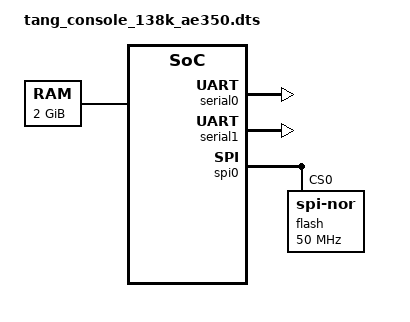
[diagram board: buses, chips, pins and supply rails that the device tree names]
// SPDX-License-Identifier: (GPL-2.0 OR MIT)

/dts-v1/;


/ {
	#address-cells = <1>;
	#size-cells = <1>;
	compatible = "andestech,a25";

	cpus {
		#address-cells = <1>;
		#size-cells = <0>;
		cpu0: cpu@0 {
			device_type = "cpu";
			reg = <0>;
			status = "okay";
			compatible = "riscv";
			riscv,isa = "rv32imafdc";
			riscv,isa-extensions = "i", "m", "a", "f", "d", "c", "zicsr", "zicntr";
			mmu-type = "riscv,sv32";
			clock-frequency = <800000000>;
			i-cache-size = <0x8000>;
			i-cache-line-size = <32>;
			i-cache-sets = <256>;
			d-cache-size = <0x8000>;
			d-cache-line-size = <32>;
			d-cache-sets = <256>;
			cpu0_intc: interrupt-controller {
				#interrupt-cells = <1>;
				interrupt-controller;
				compatible = "riscv,cpu-intc";
			};
		};
		cpu1: cpu@1 {
			device_type = "cpu";
			reg = <1>;
			status = "okay";
			compatible = "riscv";
			riscv,isa = "rv32imafdc";
			riscv,isa-extensions = "i", "m", "a", "f", "d", "c", "zicsr", "zicntr";
			mmu-type = "riscv,sv32";
			clock-frequency = <800000000>;
			i-cache-size = <0x8000>;
			i-cache-line-size = <32>;
			i-cache-sets = <256>;
			d-cache-size = <0x8000>;
			d-cache-line-size = <32>;
			d-cache-sets = <256>;
			cpu1_intc: interrupt-controller {
				#interrupt-cells = <1>;
				interrupt-controller;
				compatible = "riscv,cpu-intc";
			};
		};
		cpu2: cpu@2 {
			device_type = "cpu";
			reg = <2>;
			status = "okay";
			compatible = "riscv";
			riscv,isa = "rv32imafdc";
			riscv,isa-extensions = "i", "m", "a", "f", "d", "c", "zicsr", "zicntr";
			mmu-type = "riscv,sv32";
			clock-frequency = <800000000>;
			i-cache-size = <0x8000>;
			i-cache-line-size = <32>;
			i-cache-sets = <256>;
			d-cache-size = <0x8000>;
			d-cache-line-size = <32>;
			d-cache-sets = <256>;
			cpu2_intc: interrupt-controller {
				#interrupt-cells = <1>;
				interrupt-controller;
				compatible = "riscv,cpu-intc";
			};
		};
		cpu3: cpu@3 {
			device_type = "cpu";
			reg = <3>;
			status = "okay";
			compatible = "riscv";
			riscv,isa = "rv32imafdc";
			riscv,isa-extensions = "i", "m", "a", "f", "d", "c", "zicsr", "zicntr";
			mmu-type = "riscv,sv32";
			clock-frequency = <800000000>;
			i-cache-size = <0x8000>;
			i-cache-line-size = <32>;
			i-cache-sets = <256>;
			d-cache-size = <0x8000>;
			d-cache-line-size = <32>;
			d-cache-sets = <256>;
			cpu3_intc: interrupt-controller {
				#interrupt-cells = <1>;
				interrupt-controller;
				compatible = "riscv,cpu-intc";
			};
		};
	};

	dram: memory@0 {
		device_type = "memory";
		reg = <0x00000000 0x80000000>;
	};

	ilm0: ilm@a0000000 { // Instruction local memory
		device_type = "memory";
		compatible = "mmio-sram";
		reg = <0xa0000000 0x10000>;
	};

	dlm0: dlm@a0200000 { // Data local memory
		device_type = "memory";
		compatible = "mmio-sram";
		reg = <0xa0200000 0x10000>;
	};

	soc {
		#address-cells = <1>;
		#size-cells = <1>;
		compatible = "simple-bus";
		ranges;

		plic0: interrupt-controller@e4000000 {
			compatible = "riscv,plic0";
			#interrupt-cells = <2>;
			interrupt-controller;
			reg = <0xe4000000 0x2000000>;
			riscv,ndev=<71>;
			interrupts-extended = <&cpu0_intc 11>, <&cpu0_intc 9>,
				<&cpu1_intc 11>, <&cpu1_intc 9>,
				<&cpu2_intc 11>, <&cpu2_intc 9>,
				<&cpu3_intc 11>, <&cpu3_intc 9>;
		};

		plicsw: interrupt-controller@e6400000 {
			compatible = "andestech,plicsw";
			#interrupt-cells = <1>;
			interrupt-controller;
			reg = <0xe6400000 0x400000>;
			riscv,ndev=<2>;
			interrupts-extended = <&cpu0_intc 3>,
				<&cpu1_intc 3>,
				<&cpu2_intc 3>,
				<&cpu3_intc 3>;
		};

		plmt0@e6000000 {
			compatible = "andestech,plmt0";
			interrupts-extended = <&cpu0_intc 7>,
				<&cpu1_intc 7>,
				<&cpu2_intc 7>,
				<&cpu3_intc 7>;
			reg = <0xe6000000 0x100000>;
		};
	};

	smu: smu@f0100000 {
		compatible = "andestech,atcsmu100";
		reg = <0xf0100000 0x1000>;
		interrupts = <26 1>, <27 1>;
		status = "disabled";
	};
	
	serial0: serial@f0200000 { // UART1
		compatible = "andestech,uart16550", "ns16550";
		reg = <0xf0200000 0x100000>;
		clock-frequency = <50000000>;
		reg-shift = <2>;
		reg-offset = <32>;
		no-loopback-test = <1>;
		interrupt-parent = <&plic0>;
		interrupts = <8 4>;
	};
	
	serial1: serial@f0300000 { // UART2
		compatible = "andestech,uart16550", "ns16550";
		reg = <0xf0300000 0x100000>;
		clock-frequency = <50000000>;
		reg-shift = <2>;
		reg-offset = <32>;
		no-loopback-test = <1>;
		interrupt-parent = <&plic0>;
		interrupts = <9 4>;
	};

	timer0: timer@f0400000 {
		compatible = "andestech,atcpit100";
		reg = <0xf0400000 0x1000>;
		clock-frequency = <60000000>;
		interrupts = <3 4>;
		interrupt-parent = <&plic0>;
	};

	rtc0: rtc@f0600000 {
		compatible = "andestech,atcrtc100";
		reg = <0xf0600000 0x1000>;
		interrupts = <1 1>, <2 1>;
		interrupt-parent = <&plic0>;
		wakeup-source;
		status = "disabled";
	};

	gpio0: gpio@f0700000 {
		compatible = "andestech,atcgpio100";
		label = "gpio_0";
		reg = <0xf0700000 0x1000>;
		interrupts = <7 1>;
		interrupt-parent = <&plic0>;
		gpio-controller;
		ngpios = <32>;
		#gpio-cells = <2>;
		status = "disabled";
	};

	i2c0: i2c@f0a00000 {
		compatible = "andestech,atciic100";
		label = "i2c_0";
		reg = <0xf0a00000 0x1000>;
		interrupts = <6 1>;
		interrupt-parent = <&plic0>;
		#address-cells = <1>;
		#size-cells = <0>;
		status = "disabled";
	};

	dma0: dma@f0c00000 {
		compatible = "andestech,atcdmac300";
		reg = <0xf0c00000 0x1000>;
		interrupts = <10 4>;
		dma-channels = <8>;
		interrupt-parent = <&plic0>;
	};

	spi0: spi@f0f00000 {
		compatible = "andestech,atcspi200";
		reg = <0xf0b00000 0x1000>;
		#address-cells = <1>;
		#size-cells = <0>;
		num-cs = <1>;
		clocks = <&spiclk>;
		interrupts = <4 4>;
		interrupt-parent = <&plic0>;
		flash@0 {
			compatible = "jedec,spi-nor";
			spi-max-frequency = <50000000>;
			reg = <0>;
			spi-cpol;
			spi-cpha;
		};
	};
};
